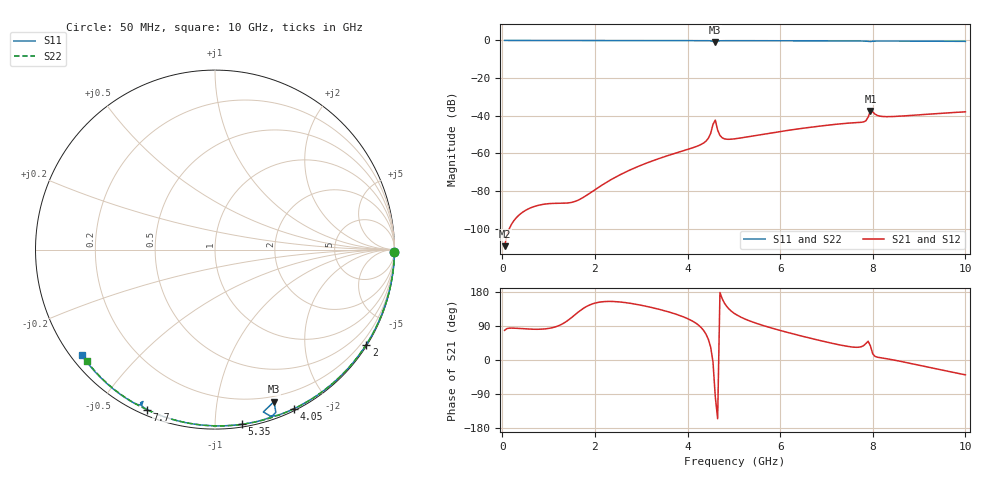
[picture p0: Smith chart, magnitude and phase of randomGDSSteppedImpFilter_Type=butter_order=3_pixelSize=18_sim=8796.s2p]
! freq	dB(S11)	phase(S11)	dB(S12)	phase(S12)
!  dB(S21)	phase(S21)	dB(S22)	phase(S22)
!S-par simulation data
#  GHz  S  DB  R 50
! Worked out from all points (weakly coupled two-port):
!   200 points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, 50 MHz to 10 GHz, reference 50 ohm
!   highest |S21| = -37.49 dB at 7.95 GHz (marker M1); lowest = -109.2 dB at 50 MHz (marker M2)
!   lowest |S11| = -0.8 dB at 4.6 GHz (marker M3), VSWR 20.81, Z = 7.5 - j72.5 ohm
!   |S11| at or under -10 dB: nowhere
!   |S22| runs from -0.5 to 0.0 dB; largest |S21 - S12| = 0
!   S11 on the Smith chart (normalised r, x): 50 MHz: open; 2 GHz: 0.03, -3.47; 4.05 GHz: 0.02, -1.62; 5.35 GHz: 0.02, -1.16; 7.7 GHz: 0.02, -0.66; 10 GHz: 0.03, -0.35
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0.05  -0.00 -0.8  -109.23 78.4  -109.23 78.4  -0.00 -0.8
1.75  -0.04 -28.2  -83.31 136.2  -83.31 136.2  -0.04 -27.7
2  -0.04 -32.2  -79.28 150.1  -79.28 150.1  -0.04 -31.6
2.65  -0.05 -42.3  -70.02 151.6  -70.02 151.6  -0.05 -41.5
3.4  -0.07 -53.7  -62.57 133.3  -62.57 133.3  -0.07 -52.7
4.05  -0.09 -63.5  -57.48 106.3  -57.48 106.3  -0.09 -62.2
4.4  -0.12 -69.2  -53.42 67.9  -53.42 67.9  -0.10 -67.2
4.5  -0.20 -71.6  -49.34 33.9  -49.34 33.9  -0.10 -68.6
4.55  -0.50 -73.4  -44.52 -5.6  -44.52 -5.6  -0.10 -69.3
4.6  -0.84 -68.8  -42.29 -97.7  -42.29 -97.7  -0.11 -70.0
4.65  -0.28 -69.5  -47.60 -155.1  -47.60 -155.1  -0.11 -70.7
4.7  -0.17 -71.0  -50.45 178.1  -50.45 178.1  -0.11 -71.4
4.75  -0.14 -72.1  -51.71 161.3  -51.71 161.3  -0.11 -72.1
5.05  -0.12 -77.0  -52.13 119.9  -52.13 119.9  -0.12 -76.2
5.35  -0.13 -81.4  -50.94 102.7  -50.94 102.7  -0.13 -80.3
6.7  -0.20 -99.7  -45.95 56.1  -45.95 56.1  -0.19 -98.2
7.7  -0.28 -113.0  -43.54 33.8  -43.54 33.8  -0.25 -110.9
7.85  -0.35 -115.2  -42.70 43.2  -42.70 43.2  -0.27 -112.8
7.95  -0.57 -115.4  -37.49 37.0  -37.49 37.0  -0.28 -114.0
8.1  -0.30 -117.0  -39.82 7.4  -39.82 7.4  -0.29 -115.8
8.35  -0.31 -120.6  -40.45 2.3  -40.45 2.3  -0.31 -118.9
10  -0.47 -141.6  -37.91 -39.1  -37.91 -39.1  -0.47 -139.0
